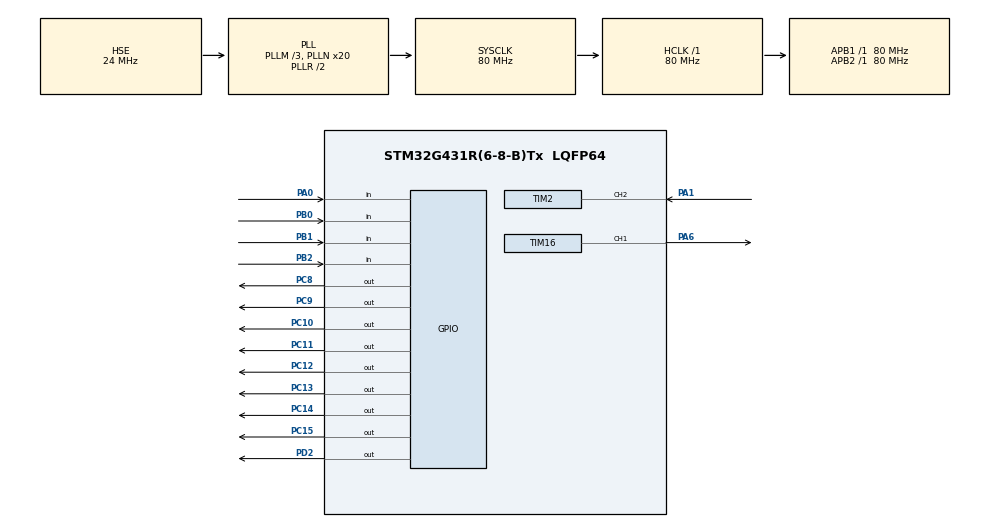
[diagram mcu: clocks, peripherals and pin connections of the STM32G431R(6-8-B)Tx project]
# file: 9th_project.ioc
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Mcu.Family=STM32G4
Mcu.Name=STM32G431R(6-8-B)Tx
Mcu.Package=LQFP64
NVIC.PriorityGroup=NVIC_PRIORITYGROUP_4
NVIC.TIM1_UP_TIM16_IRQn=true\:0\:0\:false\:false\:true\:true\:true\:true
NVIC.TIM2_IRQn=true\:0\:0\:false\:false\:true\:true\:true\:true
NVIC.TIM7_IRQn=true\:0\:0\:false\:false\:true\:true\:true\:true
PA0.Signal=GPIO_Input
PA1.Signal=S_TIM2_CH2
PA13.Mode=Serial_Wire
PA13.Signal=SYS_JTMS-SWDIO
PA14.Mode=Serial_Wire
PA14.Signal=SYS_JTCK-SWCLK
PA6.Signal=S_TIM16_CH1
PB0.Signal=GPIO_Input
PB1.Signal=GPIO_Input
PB2.Signal=GPIO_Input
PC10.GPIO_PuPd=GPIO_PULLUP
PC10.PinState=GPIO_PIN_SET
PC10.Signal=GPIO_Output
PC11.GPIO_PuPd=GPIO_PULLUP
PC11.PinState=GPIO_PIN_SET
PC11.Signal=GPIO_Output
PC12.GPIO_PuPd=GPIO_PULLUP
PC12.PinState=GPIO_PIN_SET
PC12.Signal=GPIO_Output
PC13.GPIO_PuPd=GPIO_PULLUP
PC13.PinState=GPIO_PIN_SET
PC13.Signal=GPIO_Output
PC14-OSC32_IN.GPIO_PuPd=GPIO_PULLUP
PC14-OSC32_IN.PinState=GPIO_PIN_SET
PC14-OSC32_IN.Signal=GPIO_Output
PC15-OSC32_OUT.GPIO_PuPd=GPIO_PULLUP
PC15-OSC32_OUT.PinState=GPIO_PIN_SET
PC15-OSC32_OUT.Signal=GPIO_Output
PC8.GPIO_PuPd=GPIO_PULLUP
PC8.PinState=GPIO_PIN_SET
PC8.Signal=GPIO_Output
PC9.GPIO_PuPd=GPIO_PULLUP
PC9.PinState=GPIO_PIN_SET
PC9.Signal=GPIO_Output
PD2.GPIO_PuPd=GPIO_PULLUP
PD2.Signal=GPIO_Output
PF0-OSC_IN.Mode=HSE-External-Oscillator
PF0-OSC_IN.Signal=RCC_OSC_IN
PF1-OSC_OUT.Mode=HSE-External-Oscillator
PF1-OSC_OUT.Signal=RCC_OSC_OUT
ProjectManager.HeapSize=0x200
ProjectManager.StackSize=0x400
ProjectManager.TargetToolchain=MDK-ARM V5.32
RCC.ADC12Freq_Value=80000000
RCC.AHBFreq_Value=80000000
RCC.APB1Freq_Value=80000000
RCC.APB1TimFreq_Value=80000000
RCC.APB2Freq_Value=80000000
RCC.APB2TimFreq_Value=80000000
RCC.CortexFreq_Value=80000000
RCC.EXTERNAL_CLOCK_VALUE=12288000
RCC.HCLKFreq_Value=80000000
RCC.HSE_VALUE=24000000
RCC.HSI48_VALUE=48000000
RCC.HSI_VALUE=16000000
RCC.LSE_VALUE=32768
RCC.PLLM=RCC_PLLM_DIV3
RCC.PLLN=20
RCC.PLLSourceVirtual=RCC_PLLSOURCE_HSE
RCC.SYSCLKFreq_VALUE=80000000
RCC.SYSCLKSource=RCC_SYSCLKSOURCE_PLLCLK
RCC.USBFreq_Value=80000000
RCC.VCOOutputFreq_Value=160000000
SH.S_TIM16_CH1.0=TIM16_CH1,PWM Generation1 CH1
SH.S_TIM2_CH2.0=TIM2_CH2,Input_Capture2_from_TI2
TIM16.Channel=TIM_CHANNEL_1
TIM16.PeriodNoDither=1000-1
TIM16.Prescaler=80-1
TIM2.Channel-Input_Capture2_from_TI2=TIM_CHANNEL_2
TIM2.Prescaler=10-1
TIM7.PeriodNoDither=1000-1
TIM7.Prescaler=80-1
VP_SYS_VS_DBSignals.Mode=DisableDeadBatterySignals
VP_TIM16_VS_ClockSourceINT.Mode=Enable_Timer
VP_TIM2_VS_ClockSourceINT.Mode=Internal
VP_TIM7_VS_ClockSourceINT.Mode=Enable_Timer
board=custom

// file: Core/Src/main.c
/* USER CODE BEGIN Header */
/**
  ******************************************************************************
  * @file           : main.c
  * @brief          : Main program body
  ******************************************************************************
  * @attention
  *
  * Copyright (c) 2025 STMicroelectronics.
  * All rights reserved.
  *
  * This software is licensed under terms that can be found in the LICENSE file
  * in the root directory of this software component.
  * If no LICENSE file comes with this software, it is provided AS-IS.
  *
  ******************************************************************************
  */
/* USER CODE END Header */
#include "main.h"
#include "tim.h"
#include "gpio.h"

/* USER CODE BEGIN Includes */
#include "headfile.h"

/* USER CODE END Includes */

void SystemClock_Config(void);

int main(void)
{

  /* MCU Configuration--------------------------------------------------------*/

  /* Reset of all peripherals, Initializes the Flash interface and the Systick. */
  HAL_Init();

  /* Configure the system clock */
  SystemClock_Config();

  /* Initialize all configured peripherals */
  MX_GPIO_Init();
  MX_TIM2_Init();
  MX_TIM7_Init();
  MX_TIM16_Init();
  /* USER CODE BEGIN 2 */
	HAL_GPIO_WritePin(GPIOD,GPIO_PIN_2,GPIO_PIN_RESET);
//	led_show(1,0);
//	led_show(2,0);
//	led_show(3,0);
//	led_show(4,0);
//	led_show(5,0);
//	led_show(6,0);
//	led_show(7,0);
//	led_show(8,0);

	I2CInit();
	for(int i = 0; i < 6; i++)
	{
		rom_time[0][i] = rom_read(i);
	}

	LCD_Init();
	LCD_Clear(Black);
	LCD_SetBackColor(Black);
	LCD_SetTextColor(White);

	HAL_TIM_Base_Start_IT(&htim7);
	HAL_TIM_PWM_Start_IT(&htim16,TIM_CHANNEL_1);
	__HAL_TIM_SetCompare(&htim16,TIM_CHANNEL_1,800);
	HAL_TIM_IC_Start_IT(&htim2,TIM_CHANNEL_2);

  /* USER CODE END 2 */

  /* Infinite loop */
  /* USER CODE BEGIN WHILE */
  while (1)
  {
		key_scan();
		lcd_sub();
		lcd_show();
    /* USER CODE END WHILE */

  }
}

void SystemClock_Config(void)
{
  RCC_OscInitTypeDef RCC_OscInitStruct = {0};
  RCC_ClkInitTypeDef RCC_ClkInitStruct = {0};

  /** Configure the main internal regulator output voltage
  */
  HAL_PWREx_ControlVoltageScaling(PWR_REGULATOR_VOLTAGE_SCALE1);

  /** Initializes the RCC Oscillators according to the specified parameters
  * in the RCC_OscInitTypeDef structure.
  */
  RCC_OscInitStruct.OscillatorType = RCC_OSCILLATORTYPE_HSE;
  RCC_OscInitStruct.HSEState = RCC_HSE_ON;
  RCC_OscInitStruct.PLL.PLLState = RCC_PLL_ON;
  RCC_OscInitStruct.PLL.PLLSource = RCC_PLLSOURCE_HSE;
  RCC_OscInitStruct.PLL.PLLM = RCC_PLLM_DIV3;
  RCC_OscInitStruct.PLL.PLLN = 20;
  RCC_OscInitStruct.PLL.PLLP = RCC_PLLP_DIV2;
  RCC_OscInitStruct.PLL.PLLQ = RCC_PLLQ_DIV2;
  RCC_OscInitStruct.PLL.PLLR = RCC_PLLR_DIV2;
  if (HAL_RCC_OscConfig(&RCC_OscInitStruct) != HAL_OK)
  {
    Error_Handler();
  }

  /** Initializes the CPU, AHB and APB buses clocks
  */
  RCC_ClkInitStruct.ClockType = RCC_CLOCKTYPE_HCLK|RCC_CLOCKTYPE_SYSCLK
                              |RCC_CLOCKTYPE_PCLK1|RCC_CLOCKTYPE_PCLK2;
  RCC_ClkInitStruct.SYSCLKSource = RCC_SYSCLKSOURCE_PLLCLK;
  RCC_ClkInitStruct.AHBCLKDivider = RCC_SYSCLK_DIV1;
  RCC_ClkInitStruct.APB1CLKDivider = RCC_HCLK_DIV1;
  RCC_ClkInitStruct.APB2CLKDivider = RCC_HCLK_DIV1;

  if (HAL_RCC_ClockConfig(&RCC_ClkInitStruct, FLASH_LATENCY_2) != HAL_OK)
  {
    Error_Handler();
  }
}

void Error_Handler(void)
{
  __disable_irq();
  while (1)
  {
  }
}
